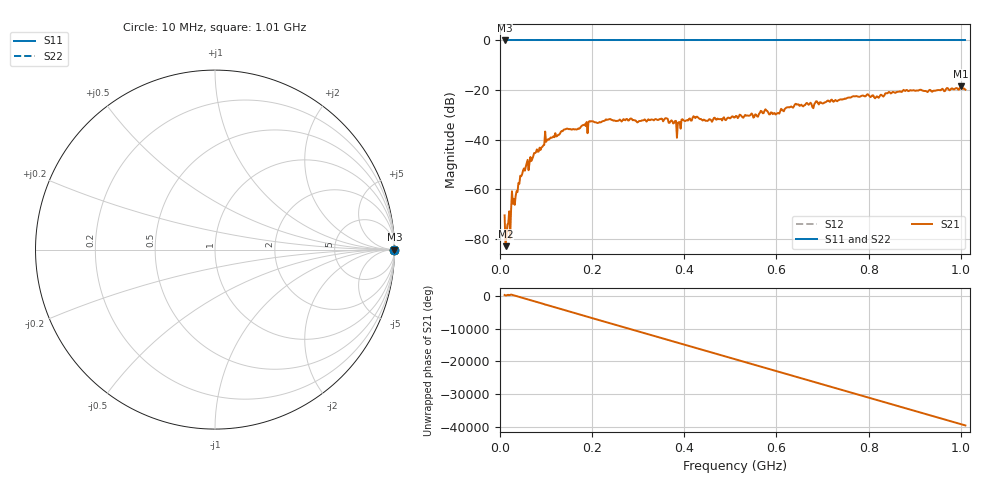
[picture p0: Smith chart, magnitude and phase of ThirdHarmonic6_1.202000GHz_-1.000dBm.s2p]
! 8/16/2025 12:27:30 PM
! C:\ANRITSUVNA\TEMP\TEMP.S2P
! CHANNEL.1
! TR.MEASUREMENT
! RAW.DATA
! RF.CORRECTION.OFF
! AVERAGING.OFF
! IF.BANDWIDTH: 5KHZ
! SWEEPTYPE:  FREQ.SWEEP(Linear)
! Reference Plane Port Info
! PORT:  PORT1  PORT2
! DISTANCE:  0  m  0  m
! TIME:  0  s  0  s
! PHASE.OFFSET:  0  deg.  0  deg.
! LOSS:  0  dB  0  dB
! REF.LOSS:  0  dB  0  dB
! REF.FREQ:  0  Hz  0  Hz
! Power Info
! POWER:  -20  dBm  -20  dBm
! EFF.POWER:  -20  dBm  -20  dBm
! SOURCE.ATTEN:  0  dB  0  dB
! TEST.ATTEN:  0  dB  0  dB
# GHZ S RI R 50.0
! FREQ.GHZ  S11RE  S11IM  S21RE  S21IM  S12RE  S12IM  S22RE  S22IM
!; PortSelection: Port_12
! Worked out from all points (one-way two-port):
!   501 points, 10 MHz to 1.01 GHz, reference 50 ohm
!   highest |S21| = -18.58 dB at 1 GHz (marker M1); lowest = -83.1 dB at 12 MHz (marker M2)
!   lowest |S11| = 0.0 dB at 10 MHz (marker M3)
!   |S11| at or under -10 dB: nowhere
!   |S22| runs from 0.0 to 0.0 dB; largest |S21 - S12| = 1.1
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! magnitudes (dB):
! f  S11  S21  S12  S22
! 10 MHz  0.0  -70.6  0.0  0.0
! 12 MHz  0.0  -83.1  0.0  0.0
! 18 MHz  0.0  -73.6  0.0  0.0
! 28 MHz  0.0  -65.9  0.0  0.0
! 34 MHz  0.0  -62.7  0.0  0.0
! 48 MHz  0.0  -54.1  0.0  0.0
! 76 MHz  0.0  -45.5  0.0  0.0
! 102 MHz  0.0  -40.2  0.0  0.0
! 178 MHz  0.0  -34.4  0.0  0.0
! 234 MHz  0.0  -32.0  0.0  0.0
! 344 MHz  0.0  -32.1  0.0  0.0
! 360 MHz  0.0  -31.3  0.0  0.0
! 388 MHz  0.0  -33.0  0.0  0.0
! 398 MHz  0.0  -32.2  0.0  0.0
! 424 MHz  0.0  -31.3  0.0  0.0
! 448 MHz  0.0  -32.4  0.0  0.0
! 510 MHz  0.0  -31.0  0.0  0.0
! 644 MHz  0.0  -25.9  0.0  0.0
! 678 MHz  0.0  -26.9  0.0  0.0
! 844 MHz  0.0  -20.8  0.0  0.0
! 1 GHz  0.0  -18.6  0.0  0.0
! 1.01 GHz  0.0  -19.9  0.0  0.0
